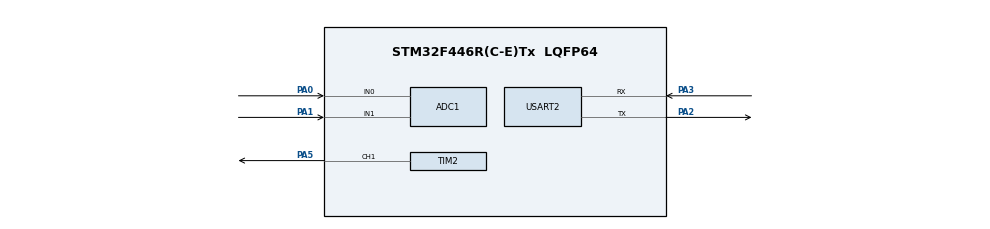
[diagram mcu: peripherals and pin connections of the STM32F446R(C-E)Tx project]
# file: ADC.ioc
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ADC1.Channel-0\#ChannelRegularConversion=ADC_CHANNEL_0
ADC1.Channel-1\#ChannelRegularConversion=ADC_CHANNEL_1
ADC1.NbrOfConversion=2
ADC1.NbrOfConversionFlag=1
ADC1.Rank-0\#ChannelRegularConversion=1
ADC1.Rank-1\#ChannelRegularConversion=2
ADC1.SamplingTime-0\#ChannelRegularConversion=ADC_SAMPLETIME_480CYCLES
ADC1.SamplingTime-1\#ChannelRegularConversion=ADC_SAMPLETIME_480CYCLES
ADC1.ScanConvMode=ENABLE
ADC1.master=1
Dma.ADC1.0.Direction=DMA_PERIPH_TO_MEMORY
Dma.ADC1.0.FIFOMode=DMA_FIFOMODE_DISABLE
Dma.ADC1.0.Instance=DMA2_Stream0
Dma.ADC1.0.MemDataAlignment=DMA_MDATAALIGN_HALFWORD
Dma.ADC1.0.MemInc=DMA_MINC_ENABLE
Dma.ADC1.0.Mode=DMA_CIRCULAR
Dma.ADC1.0.PeriphDataAlignment=DMA_PDATAALIGN_HALFWORD
Dma.ADC1.0.PeriphInc=DMA_PINC_DISABLE
Dma.ADC1.0.Priority=DMA_PRIORITY_LOW
Dma.Request0=ADC1
Mcu.Family=STM32F4
Mcu.Name=STM32F446R(C-E)Tx
Mcu.Package=LQFP64
NVIC.ADC_IRQn=true\:1\:0\:true\:false\:true\:true\:true\:true
NVIC.DMA2_Stream0_IRQn=true\:0\:0\:false\:false\:true\:false\:true\:true
NVIC.PriorityGroup=NVIC_PRIORITYGROUP_4
PA0-WKUP.Signal=ADCx_IN0
PA1.Signal=ADCx_IN1
PA2.Mode=Asynchronous
PA2.Signal=USART2_TX
PA3.Mode=Asynchronous
PA3.Signal=USART2_RX
PA5.Signal=S_TIM2_CH1_ETR
ProjectManager.HeapSize=0x200
ProjectManager.StackSize=0x400
ProjectManager.TargetToolchain=STM32CubeIDE
RCC.CortexFreq_Value=16000000
RCC.USBFreq_Value=96000000
RCC.VCOOutputFreq_Value=192000000
SH.ADCx_IN0.0=ADC1_IN0,IN0
SH.ADCx_IN1.0=ADC1_IN1,IN1
SH.S_TIM2_CH1_ETR.0=TIM2_CH1,PWM Generation1 CH1
TIM2.Channel-PWM\ Generation1\ CH1=TIM_CHANNEL_1
TIM2.Period=255
USART2.VirtualMode=VM_ASYNC
board=custom

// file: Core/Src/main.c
/* USER CODE BEGIN Header */
/**
  ******************************************************************************
  * @file           : main.c
  * @brief          : Main program body
  ******************************************************************************
  * @attention
  *
  * Copyright (c) 2024 STMicroelectronics.
  * All rights reserved.
  *
  * This software is licensed under terms that can be found in the LICENSE file
  * in the root directory of this software component.
  * If no LICENSE file comes with this software, it is provided AS-IS.
  *
  ******************************************************************************
  */
/* USER CODE END Header */
#include "main.h"

/* USER CODE BEGIN Includes */
#include <stdio.h>
#include <string.h>
//#include "knowledge.h"
//#include "NanoEdgeAI.h"
/* USER CODE END Includes */

ADC_HandleTypeDef hadc1;
DMA_HandleTypeDef hdma_adc1;

TIM_HandleTypeDef htim2;

UART_HandleTypeDef huart2;

/* USER CODE BEGIN PV */
uint16_t lux = 0;
uint16_t IR = 0;
uint16_t rawValues[2];  // Stores both lux and IR sensor values
char msg[50];
uint16_t pwmValue = 0;  // PWM duty cycle for LED
uint16_t irThreshold = 800; // Example IR threshold for person detection
uint16_t luxThreshold = 1800; // Threshold to differentiate between day and night

/* USER CODE END PV */

void SystemClock_Config(void);
static void MX_GPIO_Init(void);
static void MX_DMA_Init(void);
static void MX_ADC1_Init(void);
static void MX_USART2_UART_Init(void);
static void MX_TIM2_Init(void);

/* USER CODE BEGIN 0 */

uint8_t convCompleted=0;

void HAL_ADC_ConvCpltCallback(ADC_HandleTypeDef *hadc)
{
  /* Prevent unused argument(s) compilation warning */
	if (hadc->Instance == ADC1)
	    {
	        convCompleted = 1;  // Set flag when conversion is complete
	    }
  /* NOTE : This function Should not be modified, when the callback is needed,
            the HAL_ADC_ConvCpltCallback could be implemented in the user file
   */
}

/* USER CODE END 0 */

int main(void)
{

  /* MCU Configuration--------------------------------------------------------*/

  /* Reset of all peripherals, Initializes the Flash interface and the Systick. */
  HAL_Init();

  /* Configure the system clock */
  SystemClock_Config();

  /* Initialize all configured peripherals */
  MX_GPIO_Init();
  MX_DMA_Init();
  MX_ADC1_Init();
  MX_USART2_UART_Init();
  MX_TIM2_Init();
  /* USER CODE BEGIN 2 */

  // Initialize NanoEdge AI Library
//  //if (NanoEdgeAI_initialize() != 0)
//  {
//      // Handle initialization error
//      sprintf(msg, "\r\nNanoEdge AI Initialization Error!\r\n");
//      HAL_UART_Transmit(&huart2, (uint8_t *)msg, strlen(msg), HAL_MAX_DELAY);
//  }

  /* Start ADC in DMA mode */
  HAL_ADC_Start_DMA(&hadc1, (uint32_t *)rawValues, 2);

  HAL_TIM_PWM_Start(&htim2, TIM_CHANNEL_1);  // Start PWM for LED control
  //HAL_ADC_Start_DMA(&hadc1,(uint32_t *)rawValues,2);
  /* USER CODE END 2 */

  /* Infinite loop */
  while (1)
  {

    /* USER CODE BEGIN 3 */
	      // Read lux (LDR sensor) and IR sensor data
	  if(convCompleted) // Wait for ADC conversion to complete
	  {
	         // Read LDR (lux) and IR sensor data
	         lux = (uint16_t) rawValues[0];  // LDR sensor value (light level)
	         IR = (uint16_t) rawValues[1];   // IR sensor value

	      // Check if 25 IR readings are collected
	      //if (dataCounter == DATA_POINTS)
	      //{
	          // Perform classification using NanoEdge AI on the collected IR data
	          //int class = neai_classification(irData);

	          // Print classification result over UART
	          //sprintf(msg, "Classification Result: %d\r\n", class);
	          //HAL_UART_Transmit(&huart2, (uint8_t *)msg, strlen(msg), HAL_MAX_DELAY);

	          // LED control based on classification and LDR sensor (lux)
//	          if (lux < 1800)  // Night time condition
//	          {
	              //if (class == detection)  // Person detected
	              //{
	                  // Gradually turn on the LED (PWM control)
	    	  // LED control logic
	         sprintf(msg, "Lux: %d, IR: %d\r\n", lux, IR);
	         HAL_UART_Transmit(&huart2, (uint8_t *)msg, strlen(msg), HAL_MAX_DELAY);

	    	          if (lux < luxThreshold)  // Night time condition
	    	          {
	    	              if (IR < irThreshold)  // Person detected
	    	              {

	    	                  // Gradually turn on the LED (PWM control)
	    	                  for (int i = 0; i <= 255; i++)
	    	                  {
	    	                      __HAL_TIM_SET_COMPARE(&htim2, TIM_CHANNEL_1, i);  // Increase LED brightness
	    	                      HAL_Delay(5);  // Smooth transition
	    	                  }
	    	              }
	    	              else  // No person detected
	    	              {
	    	                  // Gradually turn off the LED (PWM control)
	    	                  for (int i = 255; i >= 0; i--)
	    	                  {
	    	                      __HAL_TIM_SET_COMPARE(&htim2, TIM_CHANNEL_1, i);  // Decrease LED brightness
	    	                      HAL_Delay(5);  // Smooth transition
	    	                  }
	    	              }
	    	          }
	    	          else  // Daytime condition (LED off regardless of IR sensor)
	    	          {
	    	              __HAL_TIM_SET_COMPARE(&htim2, TIM_CHANNEL_1, 0);  // Turn LED off
	    	          }

	      // Reset the ADC conversion completion flag
	      convCompleted = 0;

	      // Delay between readings (optional)
	      HAL_Delay(50);  // 50ms delay between ADC readings
	  }
  }
  }
  /* USER CODE END 3 */

void SystemClock_Config(void)
{
  RCC_OscInitTypeDef RCC_OscInitStruct = {0};
  RCC_ClkInitTypeDef RCC_ClkInitStruct = {0};

  /** Configure the main internal regulator output voltage
  */
  __HAL_RCC_PWR_CLK_ENABLE();
  __HAL_PWR_VOLTAGESCALING_CONFIG(PWR_REGULATOR_VOLTAGE_SCALE3);

  /** Initializes the RCC Oscillators according to the specified parameters
  * in the RCC_OscInitTypeDef structure.
  */
  RCC_OscInitStruct.OscillatorType = RCC_OSCILLATORTYPE_HSI;
  RCC_OscInitStruct.HSIState = RCC_HSI_ON;
  RCC_OscInitStruct.HSICalibrationValue = RCC_HSICALIBRATION_DEFAULT;
  RCC_OscInitStruct.PLL.PLLState = RCC_PLL_NONE;
  if (HAL_RCC_OscConfig(&RCC_OscInitStruct) != HAL_OK)
  {
    Error_Handler();
  }

  /** Initializes the CPU, AHB and APB buses clocks
  */
  RCC_ClkInitStruct.ClockType = RCC_CLOCKTYPE_HCLK|RCC_CLOCKTYPE_SYSCLK
                              |RCC_CLOCKTYPE_PCLK1|RCC_CLOCKTYPE_PCLK2;
  RCC_ClkInitStruct.SYSCLKSource = RCC_SYSCLKSOURCE_HSI;
  RCC_ClkInitStruct.AHBCLKDivider = RCC_SYSCLK_DIV1;
  RCC_ClkInitStruct.APB1CLKDivider = RCC_HCLK_DIV1;
  RCC_ClkInitStruct.APB2CLKDivider = RCC_HCLK_DIV1;

  if (HAL_RCC_ClockConfig(&RCC_ClkInitStruct, FLASH_LATENCY_0) != HAL_OK)
  {
    Error_Handler();
  }
}

static void MX_ADC1_Init(void)
{

  ADC_ChannelConfTypeDef sConfig = {0};

  /** Configure the global features of the ADC (Clock, Resolution, Data Alignment and number of conversion)
  */
  hadc1.Instance = ADC1;
  hadc1.Init.ClockPrescaler = ADC_CLOCK_SYNC_PCLK_DIV2;
  hadc1.Init.Resolution = ADC_RESOLUTION_12B;
  hadc1.Init.ScanConvMode = ENABLE;
  hadc1.Init.ContinuousConvMode = DISABLE;
  hadc1.Init.DiscontinuousConvMode = DISABLE;
  hadc1.Init.ExternalTrigConvEdge = ADC_EXTERNALTRIGCONVEDGE_NONE;
  hadc1.Init.ExternalTrigConv = ADC_SOFTWARE_START;
  hadc1.Init.DataAlign = ADC_DATAALIGN_RIGHT;
  hadc1.Init.NbrOfConversion = 2;
  hadc1.Init.DMAContinuousRequests = DISABLE;
  hadc1.Init.EOCSelection = ADC_EOC_SINGLE_CONV;
  if (HAL_ADC_Init(&hadc1) != HAL_OK)
  {
    Error_Handler();
  }

  /** Configure for the selected ADC regular channel its corresponding rank in the sequencer and its sample time.
  */
  sConfig.Channel = ADC_CHANNEL_0;
  sConfig.Rank = 1;
  sConfig.SamplingTime = ADC_SAMPLETIME_480CYCLES;
  if (HAL_ADC_ConfigChannel(&hadc1, &sConfig) != HAL_OK)
  {
    Error_Handler();
  }

  /** Configure for the selected ADC regular channel its corresponding rank in the sequencer and its sample time.
  */
  sConfig.Channel = ADC_CHANNEL_1;
  sConfig.Rank = 2;
  if (HAL_ADC_ConfigChannel(&hadc1, &sConfig) != HAL_OK)
  {
    Error_Handler();
  }

}

static void MX_TIM2_Init(void)
{

  TIM_MasterConfigTypeDef sMasterConfig = {0};
  TIM_OC_InitTypeDef sConfigOC = {0};

  htim2.Instance = TIM2;
  htim2.Init.Prescaler = 0;
  htim2.Init.CounterMode = TIM_COUNTERMODE_UP;
  htim2.Init.Period = 255;
  htim2.Init.ClockDivision = TIM_CLOCKDIVISION_DIV1;
  htim2.Init.AutoReloadPreload = TIM_AUTORELOAD_PRELOAD_DISABLE;
  if (HAL_TIM_PWM_Init(&htim2) != HAL_OK)
  {
    Error_Handler();
  }
  sMasterConfig.MasterOutputTrigger = TIM_TRGO_RESET;
  sMasterConfig.MasterSlaveMode = TIM_MASTERSLAVEMODE_DISABLE;
  if (HAL_TIMEx_MasterConfigSynchronization(&htim2, &sMasterConfig) != HAL_OK)
  {
    Error_Handler();
  }
  sConfigOC.OCMode = TIM_OCMODE_PWM1;
  sConfigOC.Pulse = 0;
  sConfigOC.OCPolarity = TIM_OCPOLARITY_HIGH;
  sConfigOC.OCFastMode = TIM_OCFAST_DISABLE;
  if (HAL_TIM_PWM_ConfigChannel(&htim2, &sConfigOC, TIM_CHANNEL_1) != HAL_OK)
  {
    Error_Handler();
  }
  HAL_TIM_MspPostInit(&htim2);

}

static void MX_USART2_UART_Init(void)
{

  huart2.Instance = USART2;
  huart2.Init.BaudRate = 115200;
  huart2.Init.WordLength = UART_WORDLENGTH_8B;
  huart2.Init.StopBits = UART_STOPBITS_1;
  huart2.Init.Parity = UART_PARITY_NONE;
  huart2.Init.Mode = UART_MODE_TX_RX;
  huart2.Init.HwFlowCtl = UART_HWCONTROL_NONE;
  huart2.Init.OverSampling = UART_OVERSAMPLING_16;
  if (HAL_UART_Init(&huart2) != HAL_OK)
  {
    Error_Handler();
  }

}

static void MX_DMA_Init(void)
{

  /* DMA controller clock enable */
  __HAL_RCC_DMA2_CLK_ENABLE();

  /* DMA interrupt init */
  /* DMA2_Stream0_IRQn interrupt configuration */
  HAL_NVIC_SetPriority(DMA2_Stream0_IRQn, 0, 0);
  HAL_NVIC_EnableIRQ(DMA2_Stream0_IRQn);

}

static void MX_GPIO_Init(void)
{

  /* GPIO Ports Clock Enable */
  __HAL_RCC_GPIOA_CLK_ENABLE();

}

void Error_Handler(void)
{
  __disable_irq();
  while (1)
  {
  }
}
